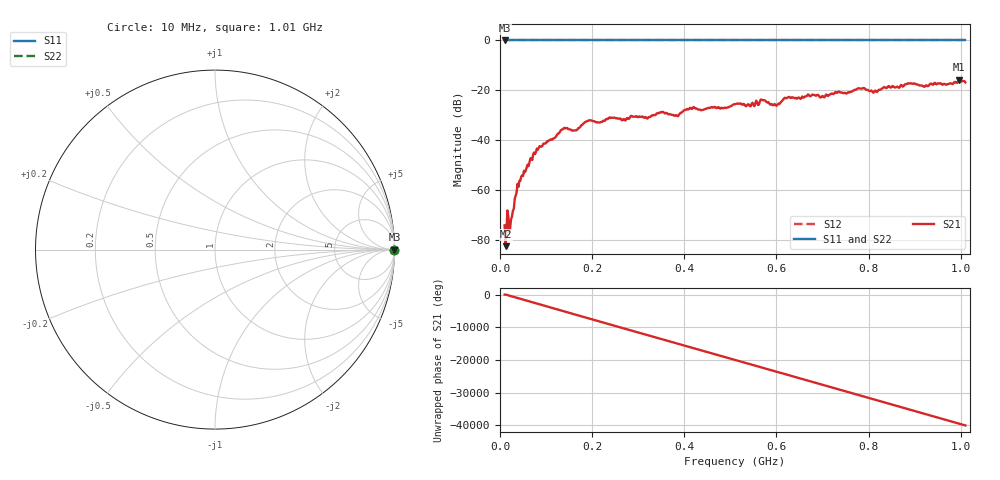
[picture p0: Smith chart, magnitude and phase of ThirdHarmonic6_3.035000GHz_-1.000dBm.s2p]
! 8/17/2025 8:46:28 AM
! C:\ANRITSUVNA\TEMP\TEMP.S2P
! CHANNEL.1
! TR.MEASUREMENT
! RAW.DATA
! RF.CORRECTION.OFF
! AVERAGING.OFF
! IF.BANDWIDTH: 5KHZ
! SWEEPTYPE:  FREQ.SWEEP(Linear)
! Reference Plane Port Info
! PORT:  PORT1  PORT2
! DISTANCE:  0  m  0  m
! TIME:  0  s  0  s
! PHASE.OFFSET:  0  deg.  0  deg.
! LOSS:  0  dB  0  dB
! REF.LOSS:  0  dB  0  dB
! REF.FREQ:  0  Hz  0  Hz
! Power Info
! POWER:  -20  dBm  -20  dBm
! EFF.POWER:  -20  dBm  -20  dBm
! SOURCE.ATTEN:  0  dB  0  dB
! TEST.ATTEN:  0  dB  0  dB
# GHZ S RI R 50.0
! FREQ.GHZ  S11RE  S11IM  S21RE  S21IM  S12RE  S12IM  S22RE  S22IM
!; PortSelection: Port_12
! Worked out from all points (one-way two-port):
!   501 points, 10 MHz to 1.01 GHz, reference 50 ohm
!   highest |S21| = -15.66 dB at 996 MHz (marker M1); lowest = -82.4 dB at 12 MHz (marker M2)
!   lowest |S11| = 0.0 dB at 10 MHz (marker M3)
!   |S11| at or under -10 dB: nowhere
!   |S22| runs from 0.0 to 0.0 dB; largest |S21 - S12| = 1.2
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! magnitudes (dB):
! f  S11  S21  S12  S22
! 10 MHz  0.0  -74.0  0.0  0.0
! 12 MHz  0.0  -82.4  0.0  0.0
! 24 MHz  0.0  -71.6  0.0  0.0
! 34 MHz  0.0  -62.1  0.0  0.0
! 42 MHz  0.0  -56.2  0.0  0.0
! 76 MHz  0.0  -45.6  0.0  0.0
! 136 MHz  0.0  -35.6  0.0  0.0
! 162 MHz  0.0  -36.1  0.0  0.0
! 178 MHz  0.0  -33.9  0.0  0.0
! 194 MHz  0.0  -32.0  0.0  0.0
! 344 MHz  0.0  -29.2  0.0  0.0
! 382 MHz  0.0  -29.9  0.0  0.0
! 416 MHz  0.0  -27.4  0.0  0.0
! 510 MHz  0.0  -25.5  0.0  0.0
! 548 MHz  0.0  -24.9  0.0  0.0
! 570 MHz  0.0  -23.9  0.0  0.0
! 598 MHz  0.0  -25.9  0.0  0.0
! 622 MHz  0.0  -23.1  0.0  0.0
! 678 MHz  0.0  -21.7  0.0  0.0
! 844 MHz  0.0  -18.3  0.0  0.0
! 996 MHz  0.0  -15.7  0.0  0.0
! 1.01 GHz  0.0  -16.8  0.0  0.0
